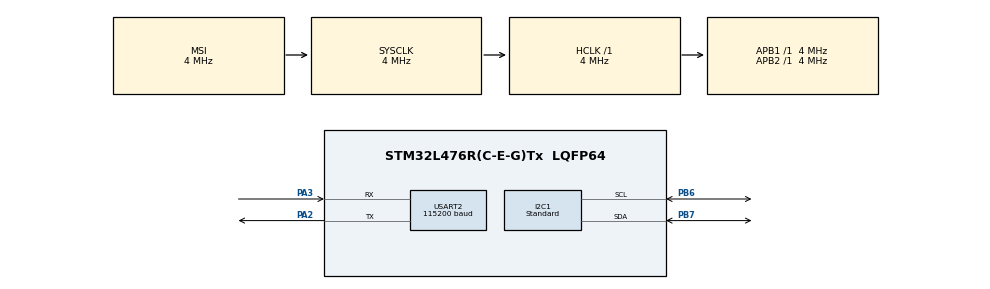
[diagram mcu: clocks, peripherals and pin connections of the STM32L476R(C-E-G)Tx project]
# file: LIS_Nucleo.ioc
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Mcu.Family=STM32L4
RCC.MSI_VALUE=4000000
RCC.PLLSourceVirtual=RCC_PLLSOURCE_HSI
RCC.CortexFreq_Value=4000000
Dma.USART2_TX.0.MemInc=DMA_MINC_ENABLE
Dma.USART2_TX.0.PeriphDataAlignment=DMA_PDATAALIGN_BYTE
I2C1.I2C_Speed_Mode=I2C_Standard
VP_TIM16_VS_ClockSourceINT.Mode=Enable_Timer
USART2.BaudRate=115200
ProjectManager.StackSize=0x400
PA3.Mode=Asynchronous
Dma.USART2_TX.0.Priority=DMA_PRIORITY_LOW
ProjectManager.TargetToolchain=STM32CubeIDE
RCC.HCLKFreq_Value=4000000
RCC.APB2TimFreq_Value=4000000
PB6.Signal=I2C1_SCL
PB6.Mode=I2C
RCC.USBFreq_Value=64000000
RCC.LSE_VALUE=32768
RCC.AHBFreq_Value=4000000
RCC.PREFETCH_ENABLE=1
RCC.HSE_VALUE=8000000
board=NUCLEO-L476RG
USART2.VirtualMode-Asynchronous=VM_ASYNC
RCC.VCOOutputFreq_Value=160000000
RCC.APB2Freq_Value=4000000
RCC.ADCFreq_Value=64000000
PB7.Signal=I2C1_SDA
Dma.USART2_TX.0.MemDataAlignment=DMA_MDATAALIGN_BYTE
Dma.USART2_TX.0.Direction=DMA_MEMORY_TO_PERIPH
Mcu.Name=STM32L476R(C-E-G)Tx
Dma.USART2_TX.0.Instance=DMA1_Channel7
PA2.Signal=USART2_TX
RCC.SYSCLKFreq_VALUE=4000000
Mcu.Package=LQFP64
Dma.USART2_TX.0.PeriphInc=DMA_PINC_DISABLE
PB7.Mode=I2C
ProjectManager.HeapSize=0x200
RCC.HSI_VALUE=16000000
Dma.USART2_TX.0.Mode=DMA_NORMAL
NVIC.PriorityGroup=NVIC_PRIORITYGROUP_4
RCC.PLLN=10
RCC.APB1TimFreq_Value=4000000
PA2.Mode=Asynchronous
NVIC.DMA1_Channel7_IRQn=true\:0\:0\:false\:false\:true\:false\:true
TIM16.Prescaler=4000
RCC.APB1Freq_Value=4000000
Dma.Request0=USART2_TX
PA3.Signal=USART2_RX

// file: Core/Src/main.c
/* USER CODE BEGIN Header */
/**
  ******************************************************************************
  * @file           : main.c
  * @brief          : Main program body
  ******************************************************************************
  * @attention
  *
  * <h2><center>&copy; Copyright (c) 2021 STMicroelectronics.
  * All rights reserved.</center></h2>
  *
  * This software component is licensed by ST under BSD 3-Clause license,
  * the "License"; You may not use this file except in compliance with the
  * License. You may obtain a copy of the License at:
  *                        opensource.org/licenses/BSD-3-Clause
  *
  ******************************************************************************
  */
/* USER CODE END Header */
#include "main.h"

/* USER CODE BEGIN Includes */
#include "stdio.h"
#include "string.h"
#include "lis2dh12_read_data_polling.h"

/* USER CODE END Includes */

I2C_HandleTypeDef hi2c1;

TIM_HandleTypeDef htim16;

UART_HandleTypeDef huart2;
DMA_HandleTypeDef hdma_usart2_tx;

/* USER CODE BEGIN PV */
float * p_to_data;
int16_t accel_val[3];
uint16_t timer_val;
char msg[30];
/* USER CODE END PV */

void SystemClock_Config(void);
static void MX_GPIO_Init(void);
static void MX_DMA_Init(void);
static void MX_USART2_UART_Init(void);
static void MX_I2C1_Init(void);
static void MX_TIM16_Init(void);

int main(void)
{

  /* MCU Configuration--------------------------------------------------------*/

  /* Reset of all peripherals, Initializes the Flash interface and the Systick. */
  HAL_Init();

  /* Configure the system clock */
  SystemClock_Config();

  /* Initialize all configured peripherals */
  MX_GPIO_Init();
  MX_DMA_Init();
  MX_USART2_UART_Init();
  MX_I2C1_Init();
  MX_TIM16_Init();
  /* USER CODE BEGIN 2 */
  lis2dh12_Init();

  HAL_TIM_Base_Start(&htim16);
  /* USER CODE END 2 */

  /* Infinite loop */
  /* USER CODE BEGIN WHILE */
  while (1)
  {

	  timer_val = __HAL_TIM_GET_COUNTER(&htim16);

	  for(uint16_t i = 0; i < 100; i++){
		  p_to_data = lis2dh12_read_data_polling();
		  accel_val[0] = *(p_to_data + 0);
		  accel_val[1] = *(p_to_data + 1);
		  accel_val[2] = *(p_to_data + 2);
	  }

	  timer_val = __HAL_TIM_GET_COUNTER(&htim16) - timer_val;
	  uint16_t freq = 100 * 1000 / timer_val;
	  sprintf(msg, "freq: %u\r\n", freq);
	  HAL_UART_Transmit(&huart2, (uint8_t*)msg, strlen(msg), HAL_MAX_DELAY);

    /* USER CODE END WHILE */

  }
}

void SystemClock_Config(void)
{
  RCC_OscInitTypeDef RCC_OscInitStruct = {0};
  RCC_ClkInitTypeDef RCC_ClkInitStruct = {0};
  RCC_PeriphCLKInitTypeDef PeriphClkInit = {0};

  /** Initializes the RCC Oscillators according to the specified parameters
  * in the RCC_OscInitTypeDef structure.
  */
  RCC_OscInitStruct.OscillatorType = RCC_OSCILLATORTYPE_MSI;
  RCC_OscInitStruct.MSIState = RCC_MSI_ON;
  RCC_OscInitStruct.MSICalibrationValue = 0;
  RCC_OscInitStruct.MSIClockRange = RCC_MSIRANGE_6;
  RCC_OscInitStruct.PLL.PLLState = RCC_PLL_NONE;
  if (HAL_RCC_OscConfig(&RCC_OscInitStruct) != HAL_OK)
  {
    Error_Handler();
  }
  /** Initializes the CPU, AHB and APB buses clocks
  */
  RCC_ClkInitStruct.ClockType = RCC_CLOCKTYPE_HCLK|RCC_CLOCKTYPE_SYSCLK
                              |RCC_CLOCKTYPE_PCLK1|RCC_CLOCKTYPE_PCLK2;
  RCC_ClkInitStruct.SYSCLKSource = RCC_SYSCLKSOURCE_MSI;
  RCC_ClkInitStruct.AHBCLKDivider = RCC_SYSCLK_DIV1;
  RCC_ClkInitStruct.APB1CLKDivider = RCC_HCLK_DIV1;
  RCC_ClkInitStruct.APB2CLKDivider = RCC_HCLK_DIV1;

  if (HAL_RCC_ClockConfig(&RCC_ClkInitStruct, FLASH_LATENCY_0) != HAL_OK)
  {
    Error_Handler();
  }
  PeriphClkInit.PeriphClockSelection = RCC_PERIPHCLK_USART2|RCC_PERIPHCLK_I2C1;
  PeriphClkInit.Usart2ClockSelection = RCC_USART2CLKSOURCE_PCLK1;
  PeriphClkInit.I2c1ClockSelection = RCC_I2C1CLKSOURCE_PCLK1;
  if (HAL_RCCEx_PeriphCLKConfig(&PeriphClkInit) != HAL_OK)
  {
    Error_Handler();
  }
  /** Configure the main internal regulator output voltage
  */
  if (HAL_PWREx_ControlVoltageScaling(PWR_REGULATOR_VOLTAGE_SCALE1) != HAL_OK)
  {
    Error_Handler();
  }
}

static void MX_I2C1_Init(void)
{

  hi2c1.Instance = I2C1;
  hi2c1.Init.Timing = 0x00000E14;
  hi2c1.Init.OwnAddress1 = 0;
  hi2c1.Init.AddressingMode = I2C_ADDRESSINGMODE_7BIT;
  hi2c1.Init.DualAddressMode = I2C_DUALADDRESS_DISABLE;
  hi2c1.Init.OwnAddress2 = 0;
  hi2c1.Init.OwnAddress2Masks = I2C_OA2_NOMASK;
  hi2c1.Init.GeneralCallMode = I2C_GENERALCALL_DISABLE;
  hi2c1.Init.NoStretchMode = I2C_NOSTRETCH_DISABLE;
  if (HAL_I2C_Init(&hi2c1) != HAL_OK)
  {
    Error_Handler();
  }
  /** Configure Analogue filter
  */
  if (HAL_I2CEx_ConfigAnalogFilter(&hi2c1, I2C_ANALOGFILTER_ENABLE) != HAL_OK)
  {
    Error_Handler();
  }
  /** Configure Digital filter
  */
  if (HAL_I2CEx_ConfigDigitalFilter(&hi2c1, 0) != HAL_OK)
  {
    Error_Handler();
  }

}

static void MX_TIM16_Init(void)
{

  htim16.Instance = TIM16;
  htim16.Init.Prescaler = 4000;
  htim16.Init.CounterMode = TIM_COUNTERMODE_UP;
  htim16.Init.Period = 65535;
  htim16.Init.ClockDivision = TIM_CLOCKDIVISION_DIV1;
  htim16.Init.RepetitionCounter = 0;
  htim16.Init.AutoReloadPreload = TIM_AUTORELOAD_PRELOAD_DISABLE;
  if (HAL_TIM_Base_Init(&htim16) != HAL_OK)
  {
    Error_Handler();
  }

}

static void MX_USART2_UART_Init(void)
{

  huart2.Instance = USART2;
  huart2.Init.BaudRate = 115200;
  huart2.Init.WordLength = UART_WORDLENGTH_8B;
  huart2.Init.StopBits = UART_STOPBITS_1;
  huart2.Init.Parity = UART_PARITY_NONE;
  huart2.Init.Mode = UART_MODE_TX_RX;
  huart2.Init.HwFlowCtl = UART_HWCONTROL_NONE;
  huart2.Init.OverSampling = UART_OVERSAMPLING_16;
  huart2.Init.OneBitSampling = UART_ONE_BIT_SAMPLE_DISABLE;
  huart2.AdvancedInit.AdvFeatureInit = UART_ADVFEATURE_NO_INIT;
  if (HAL_UART_Init(&huart2) != HAL_OK)
  {
    Error_Handler();
  }

}

static void MX_DMA_Init(void)
{

  /* DMA controller clock enable */
  __HAL_RCC_DMA1_CLK_ENABLE();

  /* DMA interrupt init */
  /* DMA1_Channel7_IRQn interrupt configuration */
  HAL_NVIC_SetPriority(DMA1_Channel7_IRQn, 0, 0);
  HAL_NVIC_EnableIRQ(DMA1_Channel7_IRQn);

}

static void MX_GPIO_Init(void)
{

  /* GPIO Ports Clock Enable */
  __HAL_RCC_GPIOA_CLK_ENABLE();
  __HAL_RCC_GPIOB_CLK_ENABLE();

}

void Error_Handler(void)
{
  __disable_irq();
  while (1)
  {
  }
}

/************************ (C) COPYRIGHT STMicroelectronics *****END OF FILE****/
